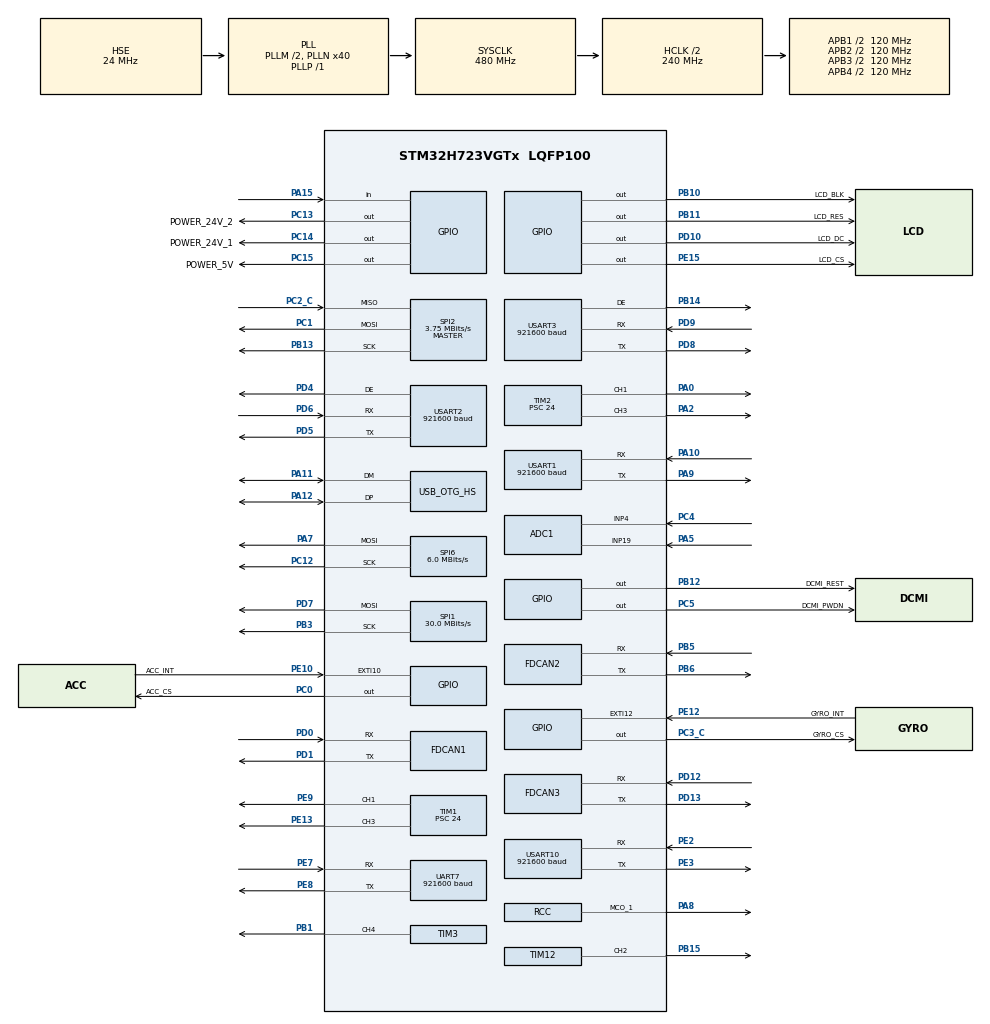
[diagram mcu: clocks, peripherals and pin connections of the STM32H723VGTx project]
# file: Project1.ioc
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ADC1.Channel-0\#ChannelRegularConversion=ADC_CHANNEL_4
ADC1.Channel-1\#ChannelRegularConversion=ADC_CHANNEL_19
ADC1.ClockPrescaler=ADC_CLOCK_ASYNC_DIV64
ADC1.ContinuousConvMode=ENABLE
ADC1.ConversionDataManagement=ADC_CONVERSIONDATA_DMA_CIRCULAR
ADC1.NbrOfConversion=2
ADC1.NbrOfConversionFlag=1
ADC1.OffsetNumber-0\#ChannelRegularConversion=ADC_OFFSET_NONE
ADC1.OffsetNumber-1\#ChannelRegularConversion=ADC_OFFSET_NONE
ADC1.OffsetSignedSaturation-0\#ChannelRegularConversion=DISABLE
ADC1.OffsetSignedSaturation-1\#ChannelRegularConversion=DISABLE
ADC1.Rank-0\#ChannelRegularConversion=1
ADC1.Rank-1\#ChannelRegularConversion=2
ADC1.SamplingTime-0\#ChannelRegularConversion=ADC_SAMPLETIME_32CYCLES_5
ADC1.SamplingTime-1\#ChannelRegularConversion=ADC_SAMPLETIME_32CYCLES_5
ADC1.master=1
CORTEX_M7.BaseAddress-Cortex_Memory_Protection_Unit_Region0_Settings=0x24000000
CORTEX_M7.CPU_DCache=Disabled
CORTEX_M7.CPU_ICache=Disabled
CORTEX_M7.Enable-Cortex_Memory_Protection_Unit_Region0_Settings=MPU_REGION_ENABLE
CORTEX_M7.IsBufferable-Cortex_Memory_Protection_Unit_Region0_Settings=MPU_ACCESS_BUFFERABLE
CORTEX_M7.IsCacheable-Cortex_Memory_Protection_Unit_Region0_Settings=MPU_ACCESS_CACHEABLE
CORTEX_M7.MPU_Control=__NULL
CORTEX_M7.Size-Cortex_Memory_Protection_Unit_Region0_Settings=MPU_REGION_SIZE_512B
CORTEX_M7.TypeExtField-Cortex_Memory_Protection_Unit_Region0_Settings=MPU_TEX_LEVEL1
Dma.ADC1.0.Direction=DMA_PERIPH_TO_MEMORY
Dma.ADC1.0.EventEnable=DISABLE
Dma.ADC1.0.FIFOMode=DMA_FIFOMODE_DISABLE
Dma.ADC1.0.Instance=DMA1_Stream0
Dma.ADC1.0.MemDataAlignment=DMA_MDATAALIGN_HALFWORD
Dma.ADC1.0.MemInc=DMA_MINC_ENABLE
Dma.ADC1.0.Mode=DMA_CIRCULAR
Dma.ADC1.0.PeriphDataAlignment=DMA_PDATAALIGN_HALFWORD
Dma.ADC1.0.PeriphInc=DMA_PINC_DISABLE
Dma.ADC1.0.Polarity=HAL_DMAMUX_REQ_GEN_RISING
Dma.ADC1.0.Priority=DMA_PRIORITY_LOW
Dma.ADC1.0.RequestNumber=1
Dma.ADC1.0.SignalID=NONE
Dma.ADC1.0.SyncEnable=DISABLE
Dma.ADC1.0.SyncPolarity=HAL_DMAMUX_SYNC_NO_EVENT
Dma.ADC1.0.SyncRequestNumber=1
Dma.ADC1.0.SyncSignalID=NONE
Dma.Request0=ADC1
FDCAN1.AutoRetransmission=ENABLE
FDCAN1.CalculateBaudRateNominal=1000000
FDCAN1.CalculateTimeBitNominal=1000
FDCAN1.CalculateTimeQuantumNominal=50.0
FDCAN1.DataPrescaler=3
FDCAN1.NominalPrescaler=6
FDCAN1.NominalSyncJumpWidth=2
FDCAN1.NominalTimeSeg1=15
FDCAN1.NominalTimeSeg2=4
FDCAN1.RxFifo0ElmtsNbr=32
FDCAN1.StdFiltersNbr=1
FDCAN1.TxFifoQueueElmtsNbr=32
FDCAN2.CalculateBaudRateNominal=1000000
FDCAN2.CalculateTimeBitNominal=1000
FDCAN2.CalculateTimeQuantumNominal=50.0
FDCAN2.MessageRAMOffset=0x406
FDCAN2.NominalPrescaler=6
FDCAN2.NominalSyncJumpWidth=2
FDCAN2.NominalTimeSeg1=15
FDCAN2.NominalTimeSeg2=4
FDCAN2.AutoRetransmission=ENABLE
FDCAN2.RxFifo0ElmtsNbr=32
FDCAN2.StdFiltersNbr=1
FDCAN2.TxFifoQueueElmtsNbr=32
FDCAN3.CalculateBaudRateNominal=1000000
FDCAN3.CalculateTimeBitNominal=1000
FDCAN3.CalculateTimeQuantumNominal=50.0
FDCAN3.MessageRAMOffset=0x812
FDCAN3.NominalPrescaler=6
FDCAN3.NominalSyncJumpWidth=2
FDCAN3.NominalTimeSeg1=15
FDCAN3.NominalTimeSeg2=4
FDCAN3.AutoRetransmission=ENABLE
FDCAN3.RxFifo0ElmtsNbr=32
FDCAN3.StdFiltersNbr=1
FDCAN3.TxFifoQueueElmtsNbr=32
FREERTOS.INCLUDE_eTaskGetState=1
FREERTOS.INCLUDE_uxTaskGetStackHighWaterMark=1
FREERTOS.INCLUDE_vTaskDelayUntil=1
FREERTOS.INCLUDE_xQueueGetMutexHolder=1
FREERTOS.INCLUDE_xTaskGetCurrentTaskHandle=1
FREERTOS.INCLUDE_xTimerPendFunctionCall=1
FREERTOS.Tasks01=defaultTask,24,128,StartDefaultTask,Default,NULL,Dynamic,NULL,NULL;KeyTask,48,128,KeyTask_Entry,As weak,NULL,Static,KeyTaskBuffer,KeyTaskControlBlock;LcdTask,24,256,LcdTask_Entry,As weak,NULL,Static,LcdTaskBuffer,LcdTaskControlBlock;ImuTask,40,1024,ImuTask_Entry,As weak,NULL,Static,ImuTaskBuffer,ImuTaskControlBlock;FunTest,16,128,FunTest_Entry,As weak,NULL,Static,FunTestBuffer,FunTestControlBlock
FREERTOS.configENABLE_FPU=1
FREERTOS.configUSE_COUNTING_SEMAPHORES=1
FREERTOS.configUSE_RECURSIVE_MUTEXES=1
FREERTOS.configUSE_TIMERS=1
FREERTOS.configUSE_TRACE_FACILITY=1
Mcu.Family=STM32H7
Mcu.Name=STM32H723VGTx
Mcu.Package=LQFP100
NVIC.DMA1_Stream0_IRQn=true\:5\:0\:false\:false\:true\:false\:false\:true\:true
NVIC.FDCAN1_IT0_IRQn=true\:5\:0\:false\:false\:true\:true\:true\:true\:true
NVIC.FDCAN1_IT1_IRQn=true\:5\:0\:false\:false\:true\:true\:true\:true\:true
NVIC.FDCAN2_IT0_IRQn=true\:5\:0\:false\:false\:true\:true\:true\:true\:true
NVIC.FDCAN2_IT1_IRQn=true\:5\:0\:false\:false\:true\:true\:true\:true\:true
NVIC.FDCAN3_IT0_IRQn=true\:5\:0\:false\:false\:true\:true\:true\:true\:true
NVIC.FDCAN3_IT1_IRQn=true\:5\:0\:false\:false\:true\:true\:true\:true\:true
NVIC.OTG_HS_IRQn=true\:5\:0\:false\:false\:true\:true\:false\:true\:true
NVIC.PriorityGroup=NVIC_PRIORITYGROUP_4
NVIC.TIM23_IRQn=true\:15\:0\:false\:false\:true\:false\:false\:true\:true
NVIC.TimeBase=TIM23_IRQn
NVIC.TimeBaseIP=TIM23
NVIC.UART7_IRQn=true\:5\:0\:true\:false\:true\:false\:true\:true\:true
NVIC.USART10_IRQn=true\:5\:0\:true\:false\:true\:false\:true\:true\:true
NVIC.USART1_IRQn=true\:5\:0\:true\:false\:true\:false\:true\:true\:true
NVIC.USART2_IRQn=true\:5\:0\:true\:false\:true\:false\:true\:true\:true
NVIC.USART3_IRQn=true\:5\:0\:true\:false\:true\:false\:true\:true\:true
PA0.Signal=S_TIM2_CH1_ETR
PA1.Signal=OCTOSPIM_P1_IO3
PA10.Mode=Asynchronous
PA10.Signal=USART1_RX
PA11.Mode=Device_Only_FS
PA11.Signal=USB_OTG_HS_DM
PA12.Mode=Device_Only_FS
PA12.Signal=USB_OTG_HS_DP
PA13(JTMS/SWDIO).Mode=Serial_Wire
PA13(JTMS/SWDIO).Signal=DEBUG_JTMS-SWDIO
PA14(JTCK/SWCLK).Mode=Serial_Wire
PA14(JTCK/SWCLK).Signal=DEBUG_JTCK-SWCLK
PA15(JTDI).Signal=GPIO_Input
PA2.Signal=S_TIM2_CH3
PA3.Signal=OCTOSPIM_P1_IO2
PA5.Signal=ADCx_INP19
PA7.Mode=TX_Only_Simplex_Unidirect_Master
PA7.Signal=SPI6_MOSI
PA8.Mode=Clock-out-1
PA8.Signal=RCC_MCO_1
PA9.Mode=Asynchronous
PA9.Signal=USART1_TX
PB0.Signal=OCTOSPIM_P1_IO1
PB1.Signal=S_TIM3_CH4
PB10.GPIO_Label=LCD_BLK
PB10.Signal=GPIO_Output
PB11.GPIO_Label=LCD_RES
PB11.Signal=GPIO_Output
PB12.GPIO_Label=DCMI_REST
PB12.GPIO_PuPd=GPIO_PULLUP
PB12.GPIO_Speed=GPIO_SPEED_FREQ_VERY_HIGH
PB12.PinState=GPIO_PIN_SET
PB12.Signal=GPIO_Output
PB13.GPIO_Speed=GPIO_SPEED_FREQ_VERY_HIGH
PB13.Mode=Full_Duplex_Master
PB13.Signal=SPI2_SCK
PB14.Mode=Hardware Flow Control (RS485)
PB14.Signal=USART3_DE
PB15.Signal=S_TIM12_CH2
PB2.Signal=OCTOSPIM_P1_CLK
PB3(JTDO/TRACESWO).GPIO_Speed=GPIO_SPEED_FREQ_VERY_HIGH
PB3(JTDO/TRACESWO).Mode=TX_Only_Simplex_Unidirect_Master
PB3(JTDO/TRACESWO).Signal=SPI1_SCK
PB5.Mode=FDCAN_Activate
PB5.Signal=FDCAN2_RX
PB6.Mode=FDCAN_Activate
PB6.Signal=FDCAN2_TX
PC0.GPIO_Label=ACC_CS
PC0.GPIO_Speed=GPIO_SPEED_FREQ_VERY_HIGH
PC0.PinState=GPIO_PIN_SET
PC0.Signal=GPIO_Output
PC1.GPIO_Speed=GPIO_SPEED_FREQ_VERY_HIGH
PC1.Mode=Full_Duplex_Master
PC1.Signal=SPI2_MOSI
PC12.Mode=TX_Only_Simplex_Unidirect_Master
PC12.Signal=SPI6_SCK
PC13.GPIO_Label=POWER_24V_2
PC13.PinState=GPIO_PIN_SET
PC13.Signal=GPIO_Output
PC14-OSC32_IN.GPIO_Label=POWER_24V_1
PC14-OSC32_IN.PinState=GPIO_PIN_SET
PC14-OSC32_IN.Signal=GPIO_Output
PC15-OSC32_OUT.GPIO_Label=POWER_5V
PC15-OSC32_OUT.PinState=GPIO_PIN_SET
PC15-OSC32_OUT.Signal=GPIO_Output
PC2_C.GPIO_Speed=GPIO_SPEED_FREQ_VERY_HIGH
PC2_C.Mode=Full_Duplex_Master
PC2_C.Signal=SPI2_MISO
PC3_C.GPIO_Label=GYRO_CS
PC3_C.GPIO_Speed=GPIO_SPEED_FREQ_VERY_HIGH
PC3_C.PinState=GPIO_PIN_SET
PC3_C.Signal=GPIO_Output
PC4.Signal=ADCx_INP4
PC5.GPIO_Label=DCMI_PWDN
PC5.GPIO_PuPd=GPIO_NOPULL
PC5.GPIO_Speed=GPIO_SPEED_FREQ_VERY_HIGH
PC5.PinState=GPIO_PIN_SET
PC5.Signal=GPIO_Output
PD0.Mode=FDCAN_Activate
PD0.Signal=FDCAN1_RX
PD1.Mode=FDCAN_Activate
PD1.Signal=FDCAN1_TX
PD10.GPIO_Label=LCD_DC
PD10.Signal=GPIO_Output
PD11.Signal=OCTOSPIM_P1_IO0
PD12.Mode=FDCAN_Activate
PD12.Signal=FDCAN3_RX
PD13.Mode=FDCAN_Activate
PD13.Signal=FDCAN3_TX
PD4.Mode=Hardware Flow Control (RS485)
PD4.Signal=USART2_DE
PD5.Mode=Asynchronous
PD5.Signal=USART2_TX
PD6.Mode=Asynchronous
PD6.Signal=USART2_RX
PD7.GPIO_Speed=GPIO_SPEED_FREQ_VERY_HIGH
PD7.Mode=TX_Only_Simplex_Unidirect_Master
PD7.Signal=SPI1_MOSI
PD8.Mode=Asynchronous
PD8.Signal=USART3_TX
PD9.Mode=Asynchronous
PD9.Signal=USART3_RX
PE10.GPIO_Label=ACC_INT
PE10.Signal=GPXTI10
PE11.Signal=OCTOSPIM_P1_NCS
PE12.GPIO_Label=GYRO_INT
PE12.Signal=GPXTI12
PE13.Signal=S_TIM1_CH3
PE15.GPIO_Label=LCD_CS
PE15.Signal=GPIO_Output
PE2.Mode=Asynchronous
PE2.Signal=USART10_RX
PE3.Mode=Asynchronous
PE3.Signal=USART10_TX
PE7.Mode=Asynchronous
PE7.Signal=UART7_RX
PE8.Mode=Asynchronous
PE8.Signal=UART7_TX
PE9.Signal=S_TIM1_CH1
PH0-OSC_IN.Mode=HSE-External-Oscillator
PH0-OSC_IN.Signal=RCC_OSC_IN
PH1-OSC_OUT.Mode=HSE-External-Oscillator
PH1-OSC_OUT.Signal=RCC_OSC_OUT
ProjectManager.HeapSize=0x200
ProjectManager.StackSize=0x800
ProjectManager.TargetToolchain=CMake
RCC.ADCFreq_Value=96000000
RCC.APB1Freq_Value=120000000
RCC.APB2Freq_Value=120000000
RCC.APB3Freq_Value=120000000
RCC.APB4Freq_Value=120000000
RCC.CortexFreq_Value=480000000
RCC.D1PPRE=RCC_APB3_DIV2
RCC.D2PPRE1=RCC_APB1_DIV2
RCC.D2PPRE2=RCC_APB2_DIV2
RCC.D3PPRE=RCC_APB4_DIV2
RCC.DIVM1=2
RCC.DIVM2=2
RCC.DIVN1=40
RCC.DIVN2=16
RCC.DIVP1=1
RCC.DIVQ1=4
RCC.HCLKFreq_Value=240000000
RCC.HPRE=RCC_HCLK_DIV2
RCC.HSE_VALUE=24000000
RCC.PLL2FRACN=0
RCC.PLL2_VCI_Range-AdvancedSettings=RCC_PLL2VCIRANGE_0
RCC.PLL2_VCO_SEL-AdvancedSettings=RCC_PLL2VCOWIDE
RCC.PLL3FRACN=0
RCC.PLL3_VCO_SEL-AdvancedSettings=RCC_PLL3VCOMEDIUM
RCC.PLLFRACN=0
RCC.PLLSourceVirtual=RCC_PLLSOURCE_HSE
RCC.SPI6CLockSelection=RCC_SPI6CLKSOURCE_HSE
RCC.SYSCLKFreq_VALUE=480000000
RCC.SYSCLKSource=RCC_SYSCLKSOURCE_PLLCLK
RCC.USBCLockSelection=RCC_USBCLKSOURCE_HSI48
RCC.USBFreq_Value=48000000
SH.ADCx_INP19.0=ADC1_INP19,IN19-Single-Ended
SH.ADCx_INP4.0=ADC1_INP4,IN4-Single-Ended
SH.S_TIM12_CH2.0=TIM12_CH2,PWM Generation2 CH2
SH.S_TIM1_CH1.0=TIM1_CH1,PWM Generation1 CH1
SH.S_TIM1_CH3.0=TIM1_CH3,PWM Generation3 CH3
SH.S_TIM2_CH1_ETR.0=TIM2_CH1,PWM Generation1 CH1
SH.S_TIM2_CH3.0=TIM2_CH3,PWM Generation3 CH3
SH.S_TIM3_CH4.0=TIM3_CH4,PWM Generation4 CH4
SPI1.BaudRatePrescaler=SPI_BAUDRATEPRESCALER_4
SPI1.CLKPolarity=SPI_POLARITY_HIGH
SPI1.CalculateBaudRate=30.0 MBits/s
SPI1.DataSize=SPI_DATASIZE_8BIT
SPI1.Direction=SPI_DIRECTION_2LINES_TXONLY
SPI1.Mode=SPI_MODE_MASTER
SPI1.VirtualType=VM_MASTER
SPI2.BaudRatePrescaler=SPI_BAUDRATEPRESCALER_32
SPI2.CLKPhase=SPI_PHASE_2EDGE
SPI2.CLKPolarity=SPI_POLARITY_HIGH
SPI2.CalculateBaudRate=3.75 MBits/s
SPI2.DataSize=SPI_DATASIZE_8BIT
SPI2.Direction=SPI_DIRECTION_2LINES
SPI2.Mode=SPI_MODE_MASTER
SPI2.VirtualType=VM_MASTER
SPI6.BaudRatePrescaler=SPI_BAUDRATEPRESCALER_4
SPI6.CLKPhase=SPI_PHASE_2EDGE
SPI6.CalculateBaudRate=6.0 MBits/s
SPI6.DataSize=SPI_DATASIZE_8BIT
SPI6.Direction=SPI_DIRECTION_2LINES_TXONLY
SPI6.Mode=SPI_MODE_MASTER
SPI6.VirtualType=VM_MASTER
TIM1.Channel-PWM\ Generation1\ CH1=TIM_CHANNEL_1
TIM1.Channel-PWM\ Generation3\ CH3=TIM_CHANNEL_3
TIM1.Period=10000
TIM1.Prescaler=24
TIM1.Pulse-PWM\ Generation1\ CH1=5000
TIM1.Pulse-PWM\ Generation3\ CH3=5000
TIM12.Channel-PWM\ Generation2\ CH2=TIM_CHANNEL_2
TIM12.Period=2000-1
TIM12.Prescaler=24-1
TIM2.Channel-PWM\ Generation1\ CH1=TIM_CHANNEL_1
TIM2.Channel-PWM\ Generation3\ CH3=TIM_CHANNEL_3
TIM2.Period=10000
TIM2.Prescaler=24
TIM2.Pulse-PWM\ Generation1\ CH1=5000
TIM2.Pulse-PWM\ Generation3\ CH3=5000
TIM3.AutoReloadPreload=TIM_AUTORELOAD_PRELOAD_ENABLE
TIM3.Channel-PWM\ Generation4\ CH4=TIM_CHANNEL_4
TIM3.Period=10000-1
TIM3.Prescaler=24-1
UART7.BaudRate=921600
USART1.BaudRate=921600
USART1.VirtualMode-Asynchronous=VM_ASYNC
USART10.BaudRate=921600
USART10.VirtualMode=VM_ASYNC
USART2.BaudRate=921600
USART2.VirtualMode-Asynchronous=VM_ASYNC
USART2.VirtualMode-Hardware\ Flow\ Control\ (RS485)=VM_ASYNC
USART3.BaudRate=921600
USART3.VirtualMode-Asynchronous=VM_ASYNC
USART3.VirtualMode-Hardware\ Flow\ Control\ (RS485)=VM_ASYNC
USB_DEVICE.CLASS_NAME_HS=CDC
USB_DEVICE.VirtualMode=Cdc
USB_DEVICE.VirtualModeHS=Cdc_HS
USB_OTG_HS.VirtualMode-Device_Only_FS=Device_Only_FS
VP_FREERTOS_VS_CMSIS_V2.Mode=CMSIS_V2
VP_MEMORYMAP_VS_MEMORYMAP.Mode=CurAppReg
VP_SYS_VS_tim23.Mode=TIM23
VP_USB_DEVICE_VS_USB_DEVICE_CDC_HS.Mode=CDC_HS
board=custom

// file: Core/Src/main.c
/* USER CODE BEGIN Header */
/**
  ******************************************************************************
  * @file           : main.c
  * @brief          : Main program body
  ******************************************************************************
  * @attention
  *
  * Copyright (c) 2026 STMicroelectronics.
  * All rights reserved.
  *
  * This software is licensed under terms that can be found in the LICENSE file
  * in the root directory of this software component.
  * If no LICENSE file comes with this software, it is provided AS-IS.
  *
  ******************************************************************************
  */
/* USER CODE END Header */
#include "main.h"
#include "cmsis_os.h"
#include "adc.h"
#include "dma.h"
#include "fdcan.h"
#include "spi.h"
#include "tim.h"
#include "usart.h"
#include "usb_device.h"
#include "gpio.h"

/* USER CODE BEGIN Includes */
#include "bsp_can.h"

/* USER CODE END Includes */

void SystemClock_Config(void);
void MX_FREERTOS_Init(void);

int main(void)
{

  /* MCU Configuration--------------------------------------------------------*/

  /* Reset of all peripherals, Initializes the Flash interface and the Systick. */
  HAL_Init();

  /* Configure the system clock */
  SystemClock_Config();

  /* Initialize all configured peripherals */
  MX_GPIO_Init();
  MX_USB_DEVICE_Init();
  MX_DMA_Init();
  MX_ADC1_Init();
  MX_TIM12_Init();
  MX_SPI1_Init();
  MX_SPI6_Init();
  MX_SPI2_Init();
  MX_TIM3_Init();
  MX_USART1_UART_Init();
  MX_USART2_UART_Init();
  MX_USART3_UART_Init();
  MX_UART7_Init();
  MX_USART10_UART_Init();
  MX_FDCAN1_Init();
  MX_FDCAN2_Init();
  MX_FDCAN3_Init();
  MX_TIM1_Init();
  MX_TIM2_Init();
  /* USER CODE BEGIN 2 */
  if (BSP_CAN_Init() != HAL_OK)
  {
    Error_Handler();
  }

  /* USER CODE END 2 */

  /* Init scheduler */
  osKernelInitialize();  /* Call init function for freertos objects (in cmsis_os2.c) */
  MX_FREERTOS_Init();

  /* Start scheduler */
  osKernelStart();

  /* We should never get here as control is now taken by the scheduler */

  /* Infinite loop */
  while (1)
  {

  }
}

void SystemClock_Config(void)
{
  RCC_OscInitTypeDef RCC_OscInitStruct = {0};
  RCC_ClkInitTypeDef RCC_ClkInitStruct = {0};

  /** Supply configuration update enable
  */
  HAL_PWREx_ConfigSupply(PWR_LDO_SUPPLY);

  /** Configure the main internal regulator output voltage
  */
  __HAL_PWR_VOLTAGESCALING_CONFIG(PWR_REGULATOR_VOLTAGE_SCALE0);

  while(!__HAL_PWR_GET_FLAG(PWR_FLAG_VOSRDY)) {}

  /** Initializes the RCC Oscillators according to the specified parameters
  * in the RCC_OscInitTypeDef structure.
  */
  RCC_OscInitStruct.OscillatorType = RCC_OSCILLATORTYPE_HSI48|RCC_OSCILLATORTYPE_HSI
                              |RCC_OSCILLATORTYPE_HSE;
  RCC_OscInitStruct.HSEState = RCC_HSE_ON;
  RCC_OscInitStruct.HSIState = RCC_HSI_DIV1;
  RCC_OscInitStruct.HSICalibrationValue = 64;
  RCC_OscInitStruct.HSI48State = RCC_HSI48_ON;
  RCC_OscInitStruct.PLL.PLLState = RCC_PLL_ON;
  RCC_OscInitStruct.PLL.PLLSource = RCC_PLLSOURCE_HSE;
  RCC_OscInitStruct.PLL.PLLM = 2;
  RCC_OscInitStruct.PLL.PLLN = 40;
  RCC_OscInitStruct.PLL.PLLP = 1;
  RCC_OscInitStruct.PLL.PLLQ = 4;
  RCC_OscInitStruct.PLL.PLLR = 2;
  RCC_OscInitStruct.PLL.PLLRGE = RCC_PLL1VCIRANGE_3;
  RCC_OscInitStruct.PLL.PLLVCOSEL = RCC_PLL1VCOWIDE;
  RCC_OscInitStruct.PLL.PLLFRACN = 0;
  if (HAL_RCC_OscConfig(&RCC_OscInitStruct) != HAL_OK)
  {
    Error_Handler();
  }

  /** Initializes the CPU, AHB and APB buses clocks
  */
  RCC_ClkInitStruct.ClockType = RCC_CLOCKTYPE_HCLK|RCC_CLOCKTYPE_SYSCLK
                              |RCC_CLOCKTYPE_PCLK1|RCC_CLOCKTYPE_PCLK2
                              |RCC_CLOCKTYPE_D3PCLK1|RCC_CLOCKTYPE_D1PCLK1;
  RCC_ClkInitStruct.SYSCLKSource = RCC_SYSCLKSOURCE_PLLCLK;
  RCC_ClkInitStruct.SYSCLKDivider = RCC_SYSCLK_DIV1;
  RCC_ClkInitStruct.AHBCLKDivider = RCC_HCLK_DIV2;
  RCC_ClkInitStruct.APB3CLKDivider = RCC_APB3_DIV2;
  RCC_ClkInitStruct.APB1CLKDivider = RCC_APB1_DIV2;
  RCC_ClkInitStruct.APB2CLKDivider = RCC_APB2_DIV2;
  RCC_ClkInitStruct.APB4CLKDivider = RCC_APB4_DIV2;

  if (HAL_RCC_ClockConfig(&RCC_ClkInitStruct, FLASH_LATENCY_3) != HAL_OK)
  {
    Error_Handler();
  }
  HAL_RCC_MCOConfig(RCC_MCO1, RCC_MCO1SOURCE_HSI, RCC_MCODIV_1);
}

void HAL_TIM_PeriodElapsedCallback(TIM_HandleTypeDef *htim)
{
  if (htim->Instance == TIM23)
  {
    HAL_IncTick();
  }
}

void Error_Handler(void)
{
  __disable_irq();
  while (1)
  {
  }
}

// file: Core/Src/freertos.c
/* USER CODE BEGIN Header */
/**
  ******************************************************************************
  * File Name          : freertos.c
  * Description        : Code for freertos applications
  ******************************************************************************
  * @attention
  *
  * Copyright (c) 2026 STMicroelectronics.
  * All rights reserved.
  *
  * This software is licensed under terms that can be found in the LICENSE file
  * in the root directory of this software component.
  * If no LICENSE file comes with this software, it is provided AS-IS.
  *
  ******************************************************************************
  */
/* USER CODE END Header */

#include "FreeRTOS.h"
#include "task.h"
#include "main.h"
#include "cmsis_os.h"

/* USER CODE BEGIN Includes */
#include "bsp_usb_cdc.h"
#include "imu_task.h"
#include "gimbal_task.h"
#include "system_identification_task.h"
#include "velocity_control_test_task.h"

/* USER CODE END Includes */

typedef StaticTask_t osStaticThreadDef_t;

/* Definitions for defaultTask */
osThreadId_t defaultTaskHandle;
const osThreadAttr_t defaultTask_attributes = {
  .name = "defaultTask",
  .stack_size = 128 * 4,
  .priority = (osPriority_t) osPriorityNormal,
};
/* Definitions for KeyTask */
osThreadId_t KeyTaskHandle;
uint32_t KeyTaskBuffer[ 128 ];
osStaticThreadDef_t KeyTaskControlBlock;
const osThreadAttr_t KeyTask_attributes = {
  .name = "KeyTask",
  .cb_mem = &KeyTaskControlBlock,
  .cb_size = sizeof(KeyTaskControlBlock),
  .stack_mem = &KeyTaskBuffer[0],
  .stack_size = sizeof(KeyTaskBuffer),
  .priority = (osPriority_t) osPriorityRealtime,
};
/* Definitions for LcdTask */
osThreadId_t LcdTaskHandle;
uint32_t LcdTaskBuffer[ 256 ];
osStaticThreadDef_t LcdTaskControlBlock;
const osThreadAttr_t LcdTask_attributes = {
  .name = "LcdTask",
  .cb_mem = &LcdTaskControlBlock,
  .cb_size = sizeof(LcdTaskControlBlock),
  .stack_mem = &LcdTaskBuffer[0],
  .stack_size = sizeof(LcdTaskBuffer),
  .priority = (osPriority_t) osPriorityNormal,
};
/* Definitions for ImuTask */
osThreadId_t ImuTaskHandle;
uint32_t ImuTaskBuffer[ 1024 ];
osStaticThreadDef_t ImuTaskControlBlock;
const osThreadAttr_t ImuTask_attributes = {
  .name = "ImuTask",
  .cb_mem = &ImuTaskControlBlock,
  .cb_size = sizeof(ImuTaskControlBlock),
  .stack_mem = &ImuTaskBuffer[0],
  .stack_size = sizeof(ImuTaskBuffer),
  .priority = (osPriority_t) osPriorityHigh,
};
/* Definitions for FunTest */
osThreadId_t FunTestHandle;
uint32_t FunTestBuffer[ 128 ];
osStaticThreadDef_t FunTestControlBlock;
const osThreadAttr_t FunTest_attributes = {
  .name = "FunTest",
  .cb_mem = &FunTestControlBlock,
  .cb_size = sizeof(FunTestControlBlock),
  .stack_mem = &FunTestBuffer[0],
  .stack_size = sizeof(FunTestBuffer),
  .priority = (osPriority_t) osPriorityBelowNormal,
};

void StartDefaultTask(void *argument);
void KeyTask_Entry(void *argument);
void LcdTask_Entry(void *argument);
void ImuTask_Entry(void *argument);
void FunTest_Entry(void *argument);

extern void MX_USB_DEVICE_Init(void);
void MX_FREERTOS_Init(void); /* (MISRA C 2004 rule 8.1) */

void MX_FREERTOS_Init(void) {

  /* Create the thread(s) */
  /* creation of defaultTask */
  defaultTaskHandle = osThreadNew(StartDefaultTask, NULL, &defaultTask_attributes);

  /* Existing application tasks are intentionally disabled for now. */
  // KeyTaskHandle = osThreadNew(KeyTask_Entry, NULL, &KeyTask_attributes);
  // LcdTaskHandle = osThreadNew(LcdTask_Entry, NULL, &LcdTask_attributes);
  // ImuTaskHandle = osThreadNew(ImuTask_Entry, NULL, &ImuTask_attributes);
  // FunTestHandle = osThreadNew(FunTest_Entry, NULL, &FunTest_attributes);

  /* USER CODE BEGIN RTOS_THREADS */
  ImuTask_Init();
#if VELOCITY_CONTROL_TEST_MODE
  VelocityControlTestTask_Init();
#elif SYSTEM_IDENTIFICATION_MODE
  SystemIdentificationTask_Init();
#else
  GimbalTask_Init();
#endif
  /* USER CODE END RTOS_THREADS */

}

void StartDefaultTask(void *argument)
{
  /* USER CODE BEGIN StartDefaultTask */
  struct usb_device *usb_dev = usb_get_device();
  usb_dev->Init(usb_dev);

  /* Infinite loop */
  for(;;)
  {
    osDelay(1);
  }
  /* USER CODE END StartDefaultTask */
}

__weak void KeyTask_Entry(void *argument)
{
  for(;;)
  {
    osDelay(1);
  }
}

__weak void LcdTask_Entry(void *argument)
{
  for(;;)
  {
    osDelay(1);
  }
}

__weak void ImuTask_Entry(void *argument)
{
  for(;;)
  {
    osDelay(1);
  }
}

__weak void FunTest_Entry(void *argument)
{
  for(;;)
  {
    osDelay(1);
  }
}
